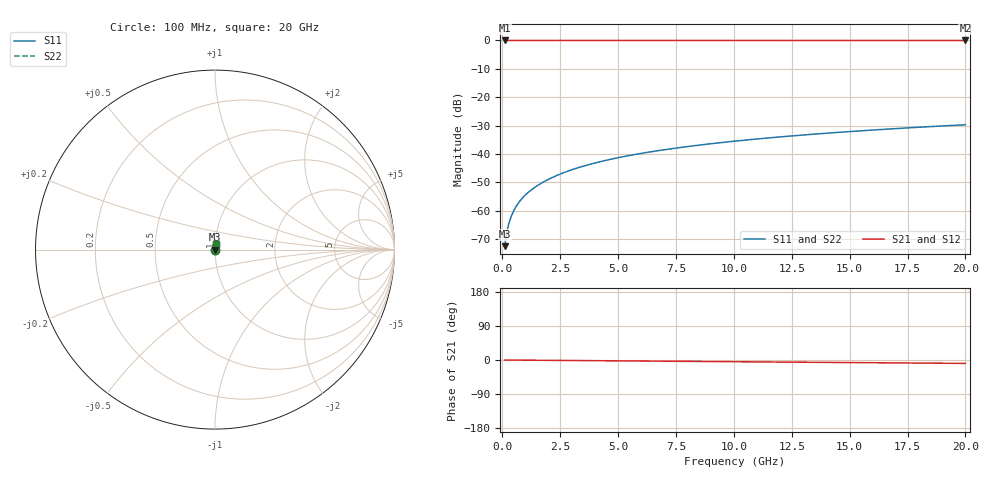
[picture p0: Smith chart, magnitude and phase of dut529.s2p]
! Touchstone file exported from HFSS 2026.1.0
!  File:  C:/ffzhzh/LocalFiles/Ansys_Project_Files/temp_train_TSV_529_1783023682_51716.aedt
!  Generated:  04:22:52 AM Jul  3, 2026
!  Design:  TSV
!  Project:  temp_train_TSV_529_1783023682_51716
! Variables:
!  h_bsmrdl = 2um
!  h_ox = 20um
!  h_rdl = 5um
!  h_sub = 85.24um
!  h_tmrdl = 5um
!  h_tsv = 85.24um
!  h_via = 3um
!  l_bsmrdl = 300um
!  l_sub = 421.68um
!  l_tmrdl = 200um
!  m_sub = 200um
!  pitch = 55.91um
!  r_tsv = 10.84um
!  s_tmrdl = 10um
!  w_bsmrdl = 18um
!  w_sub = 500um
!  w_tmrdl = 12um
!  x_tsv_center1 = 206um
!  x_tsv_center2 = 524um
!  x_tsv_center3 = 736um
!  x_tsv_center4 = 1054um
!  x_tsv_center5 = 1266um
!  x_tsv_center6 = 1584um
# GHz S MA R 50.000000
! Terminal data exported
! Port[1] = TSV1_1_T1
! Port[2] = TSV1_1_T2
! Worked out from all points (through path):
!   200 points, 100 MHz to 20 GHz, reference 50 ohm
!   highest |S21| = 0.00 dB at 100 MHz (marker M1); lowest = 0.0 dB at 20 GHz (marker M2)
!   group delay of S21, straight-line fit = 1.25 ps
!   lowest |S11| = -72.5 dB at 100 MHz (marker M3), VSWR 1.00, Z = 50 + j0.0207 ohm
!   |S11| at or under -10 dB: start of sweep to end of sweep
!   |S22| runs from -72.5 to -29.7 dB; largest |S21 - S12| = 5.7e-15
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0.1  0.0002366 60.8  0.9999 -0.0  0.9999 -0.0  0.0002366 60.8
! Gamma 0 0 0 0
! Port Impedance 50 0 50 0
0.2  0.0004298 72.7  0.9999 -0.1  0.9999 -0.1  0.0004298 72.7
0.3  0.0006268 76.5  0.9999 -0.1  0.9999 -0.1  0.0006268 76.5
0.4  0.0008205 78.2  0.9998 -0.2  0.9998 -0.2  0.0008205 78.2
0.5  0.001009 79.0  0.9998 -0.2  0.9998 -0.2  0.001009 79.0
0.6  0.001193 79.5  0.9998 -0.3  0.9998 -0.3  0.001193 79.5
0.7  0.001373 79.9  0.9998 -0.3  0.9998 -0.3  0.001373 79.9
0.9  0.001723 80.5  0.9997 -0.4  0.9997 -0.4  0.001723 80.5
1.1  0.002066 81.0  0.9997 -0.5  0.9997 -0.5  0.002066 81.0
1.3  0.002404 81.4  0.9997 -0.6  0.9997 -0.6  0.002404 81.4
1.6  0.002908 82.0  0.9996 -0.7  0.9996 -0.7  0.002908 82.0
1.9  0.003411 82.5  0.9996 -0.9  0.9996 -0.9  0.003411 82.5
2.6  0.004583 83.2  0.9995 -1.2  0.9995 -1.2  0.004583 83.2
3.5  0.006087 83.6  0.9995 -1.6  0.9995 -1.6  0.006087 83.6
4.2  0.007252 83.6  0.9994 -1.9  0.9994 -1.9  0.007252 83.6
5  0.008575 83.6  0.9993 -2.3  0.9993 -2.3  0.008575 83.6
6.8  0.01153 83.3  0.9992 -3.1  0.9992 -3.1  0.01153 83.3
8.3  0.01398 83.0  0.9991 -3.7  0.9991 -3.7  0.01398 83.0
10.1  0.01689 82.5  0.999 -4.6  0.999 -4.6  0.01689 82.5
13.4  0.02221 81.4  0.9987 -6.0  0.9987 -6.0  0.02221 81.4
16.7  0.02749 80.1  0.9985 -7.5  0.9985 -7.5  0.02749 80.1
20  0.03271 78.8  0.9982 -9.0  0.9982 -9.0  0.03271 78.8
